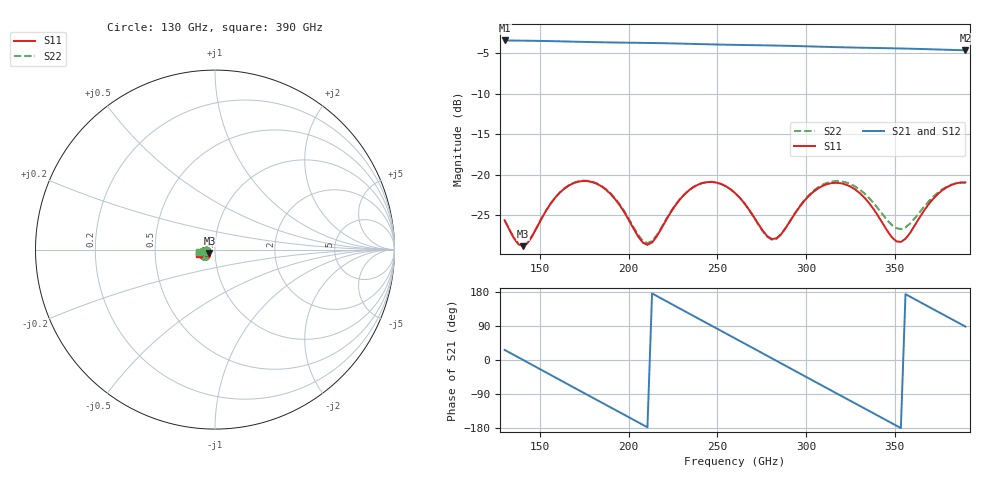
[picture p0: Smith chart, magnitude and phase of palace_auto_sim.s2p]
#  GHZ S DB R 50
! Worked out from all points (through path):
!   101 points, 130 GHz to 390 GHz, reference 50 ohm
!   highest |S21| = -3.42 dB at 130 GHz (marker M1); lowest = -4.6 dB at 390 GHz (marker M2)
!   group delay of S21, straight-line fit = 7.03 ps
!   lowest |S11| = -28.8 dB at 140.4 GHz (marker M3), VSWR 1.08, Z = 47 - j1.77 ohm
!   |S11| at or under -10 dB: start of sweep to end of sweep
!   |S22| runs from -28.8 to -20.7 dB; largest |S21 - S12| = 7.5e-14
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130  -25.63 -174.0  -3.42 26.6  -3.42 26.6  -25.62 -173.9
140.4  -28.83 -148.7  -3.45 0.2  -3.45 0.2  -28.81 -148.5
156  -23.57 -127.5  -3.50 -39.4  -3.50 -39.4  -23.55 -127.3
174.2  -20.78 -152.7  -3.60 -85.6  -3.60 -85.6  -20.74 -152.3
184.6  -21.44 -169.1  -3.65 -111.9  -3.65 -111.9  -21.38 -168.6
197.6  -24.66 178.4  -3.69 -144.7  -3.69 -144.7  -24.55 179.0
210.6  -28.67 -157.5  -3.73 -177.7  -3.73 -177.7  -28.45 -157.8
218.4  -26.68 -136.4  -3.76 162.5  -3.76 162.5  -26.57 -137.1
239.2  -21.23 -149.1  -3.86 109.7  -3.86 109.7  -21.21 -149.3
249.6  -20.98 -164.6  -3.92 83.4  -3.92 83.4  -20.97 -164.7
260  -22.26 -178.4  -3.97 57.1  -3.97 57.1  -22.26 -178.4
280.8  -27.96 -164.3  -4.04 4.4  -4.04 4.4  -28.03 -163.6
291.2  -25.70 -141.3  -4.09 -22.0  -4.09 -22.0  -25.68 -139.8
304.2  -22.12 -146.4  -4.17 -54.9  -4.17 -54.9  -22.01 -144.7
314.6  -21.04 -160.1  -4.23 -81.2  -4.23 -81.2  -20.86 -158.0
325  -21.46 -174.7  -4.29 -107.4  -4.29 -107.4  -21.14 -172.1
338  -24.19 173.2  -4.34 -140.2  -4.34 -140.2  -23.46 176.6
348.4  -27.70 -176.8  -4.39 -166.6  -4.39 -166.6  -26.20 -176.0
356.2  -27.92 -152.7  -4.43 173.7  -4.43 173.7  -26.51 -158.7
366.6  -24.46 -140.0  -4.49 147.3  -4.49 147.3  -23.98 -147.7
379.6  -21.54 -150.7  -4.57 114.5  -4.57 114.5  -21.48 -156.7
390  -20.95 -164.5  -4.64 88.3  -4.64 88.3  -21.00 -169.7
